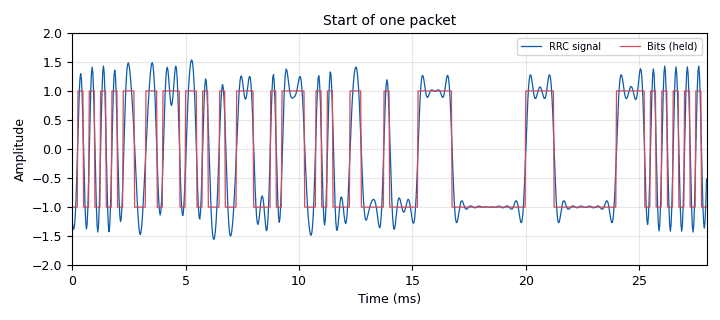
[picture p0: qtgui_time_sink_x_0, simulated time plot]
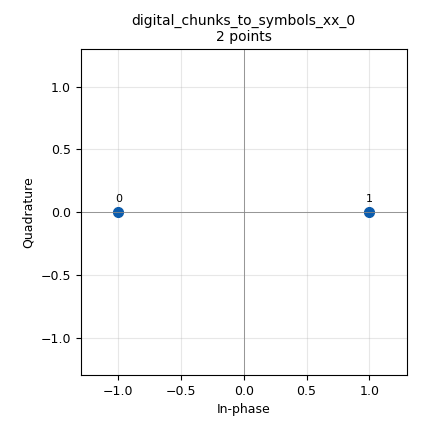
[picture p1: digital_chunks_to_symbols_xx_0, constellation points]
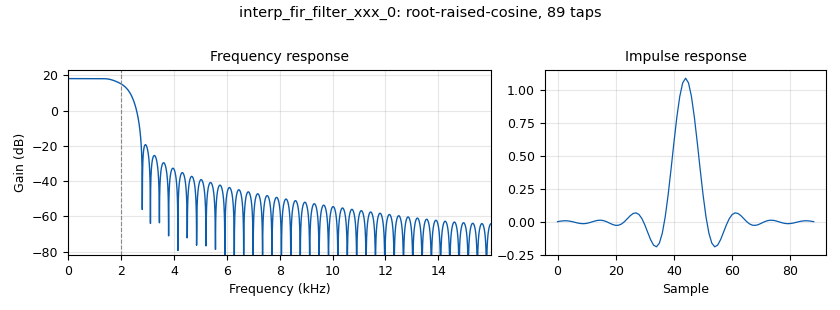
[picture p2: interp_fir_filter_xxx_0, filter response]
options:
  parameters:
    author: ECE 448
    description: 'L10: a line of ASCII text in packets, as bits and as an RRC 2-PAM signal. The display starts at the first bit of each packet''s access code.'
    generate_options: qt_gui
    id: L10_pam_tx
    output_language: python
    title: L10 - PAM Text Transmitter
  states: {}

blocks:
- name: alpha
  id: variable
  parameters:
    value: '0.35'
  states: {}
- name: hdr
  id: variable
  parameters:
    value: digital.header_format_default(digital.packet_utils.default_access_code, 0)
  states: {}
- name: msg
  id: variable
  parameters:
    value: '''USAFA ECE 448: ASCII over PAM.'''
  states: {}
- name: samp_rate
  id: variable
  parameters:
    value: '32000'
  states: {}
- name: sps
  id: variable
  parameters:
    value: '8'
  states: {}
- name: tx_taps
  id: variable
  parameters:
    value: firdes.root_raised_cosine(sps, samp_rate, samp_rate/sps, alpha, 11*sps)
  states: {}
- name: blocks_delay_0
  id: blocks_delay
  parameters:
    comment: Lines the held bits up with the RRC pulse peaks
    delay: (len(tx_taps) - 1)//2 - sps//2
    type: float
  states: {}
- name: blocks_repeat_0
  id: blocks_repeat
  parameters:
    interp: sps
    type: float
  states: {}
- name: blocks_stream_to_tagged_stream_0
  id: blocks_stream_to_tagged_stream
  parameters:
    len_tag_key: '"packet_len"'
    packet_len: len(msg) + 1
    type: byte
  states: {}
- name: blocks_tagged_stream_mux_0
  id: blocks_tagged_stream_mux
  parameters:
    lengthtagname: '"packet_len"'
    ninputs: '2'
    type: byte
  states: {}
- name: blocks_throttle2_0
  id: blocks_throttle2
  parameters:
    samples_per_second: samp_rate/sps
    type: float
  states: {}
- name: blocks_unpack_k_bits_bb_0
  id: blocks_unpack_k_bits_bb
  parameters:
    k: '8'
  states: {}
- name: blocks_vector_source_x_0
  id: blocks_vector_source_x
  parameters:
    repeat: 'True'
    type: byte
    vector: list(msg.encode()) + [10]
  states: {}
- name: digital_chunks_to_symbols_xx_0
  id: digital_chunks_to_symbols_xx
  parameters:
    dimension: '1'
    in_type: byte
    out_type: float
    symbol_table: '[-1, 1]'
  states: {}
- name: digital_protocol_formatter_bb_0
  id: digital_protocol_formatter_bb
  parameters:
    format: hdr
    len_tag_key: '"packet_len"'
  states: {}
- name: interp_fir_filter_xxx_0
  id: interp_fir_filter_xxx
  parameters:
    comment: Transmitter
    interp: sps
    taps: tx_taps
    type: fff
  states: {}
- name: qtgui_time_sink_x_0
  id: qtgui_time_sink_x
  parameters:
    entags: 'False'
    grid: 'True'
    gui_hint: 0,0,1,1
    label1: RRC signal
    label2: Bits (held)
    name: '"Start of one packet"'
    nconnections: '2'
    size: 112*sps
    srate: samp_rate
    tr_chan: '1'
    tr_mode: qtgui.TRIG_MODE_TAG
    tr_tag: '"packet_len"'
    type: float
    update_time: '0.5'
    width1: '2'
    ymax: '2'
    ymin: '-2'
  states: {}

connections:
- [blocks_delay_0, '0', qtgui_time_sink_x_0, '1']
- [blocks_repeat_0, '0', blocks_delay_0, '0']
- [blocks_stream_to_tagged_stream_0, '0', blocks_tagged_stream_mux_0, '1']
- [blocks_stream_to_tagged_stream_0, '0', digital_protocol_formatter_bb_0, '0']
- [blocks_tagged_stream_mux_0, '0', blocks_unpack_k_bits_bb_0, '0']
- [blocks_throttle2_0, '0', blocks_repeat_0, '0']
- [blocks_throttle2_0, '0', interp_fir_filter_xxx_0, '0']
- [blocks_unpack_k_bits_bb_0, '0', digital_chunks_to_symbols_xx_0, '0']
- [blocks_vector_source_x_0, '0', blocks_stream_to_tagged_stream_0, '0']
- [digital_chunks_to_symbols_xx_0, '0', blocks_throttle2_0, '0']
- [digital_protocol_formatter_bb_0, '0', blocks_tagged_stream_mux_0, '0']
- [interp_fir_filter_xxx_0, '0', qtgui_time_sink_x_0, '0']

metadata:
  file_format: 1
  grc_version: 3.10.9.2
